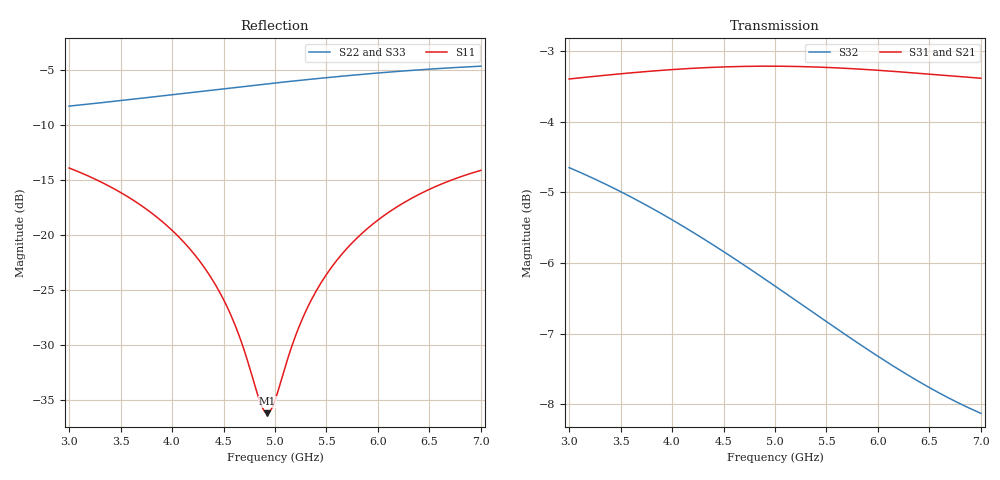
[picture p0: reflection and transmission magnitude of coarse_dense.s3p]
! yapnr rf: divider-osh-m-star-fwd, footprint re-simulated (optimization grid)
! spec sha256 6ebc0f7f06cb0ed0a2ade3a83320aeec5a79c13a408e34964cd1a333cf0d2266
! 3 ports renormalized to 50 ohm, e^(+jwt) convention
# GHz S RI R 50
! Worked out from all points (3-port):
!   161 points, 3 GHz to 7 GHz, reference 50 ohm
!   strongest paths, dB at 3 GHz, 4 GHz, 5 GHz, 6 GHz, 7 GHz:
!     S31: -3.4, -3.3, -3.2, -3.3, -3.4
!     S21: -3.4, -3.3, -3.2, -3.3, -3.4
!     S32: -4.6, -5.4, -6.3, -7.3, -8.1
!   lowest |S11| = -36.2 dB at 4.925 GHz (marker M1), VSWR 1.03, Z = 48.5 + j0.238 ohm
!   |S11| at or under -10 dB: start of sweep to end of sweep
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3  -0.1221 0.1605  0.1061 -0.6683  0.1061 -0.6683
   0.106 -0.6683  0.0917 0.3747  -0.1498 -0.5661
   0.106 -0.6683  -0.1498 -0.5661  0.0917 0.3747
3.7  -0.0571 0.1237  -0.1261 -0.6728  -0.1261 -0.6728
     -0.1262 -0.6727  0.2541 0.333  -0.3444 -0.4331
     -0.1262 -0.6727  -0.3444 -0.4331  0.2541 0.333
4.225  -0.0247 0.0769  -0.2969 -0.6215  -0.2969 -0.6215
       -0.2969 -0.6214  0.3648 0.2586  -0.4346 -0.296
       -0.2969 -0.6214  -0.4346 -0.296  0.3648 0.2586
4.55  -0.015 0.0429  -0.3943 -0.5667  -0.3943 -0.5667
      -0.3943 -0.5666  0.4227 0.1952  -0.4645 -0.2055
      -0.3943 -0.5666  -0.4645 -0.2055  0.4227 0.1952
4.925  -0.0152 0.00245  -0.4935 -0.4837  -0.4935 -0.4837
       -0.4935 -0.4836  0.4751 0.1081  -0.476 -0.1029
       -0.4935 -0.4836  -0.476 -0.1029  0.4751 0.1081
5  -0.0168 -0.00547  -0.5113 -0.4649  -0.5113 -0.4649
   -0.5113 -0.4648  0.4834 0.0892  -0.4756 -0.0831
   -0.5113 -0.4648  -0.4756 -0.0831  0.4834 0.0892
5.3  -0.0278 -0.0355  -0.5745 -0.3829  -0.5745 -0.3829
     -0.5745 -0.3829  0.5085 0.00965  -0.4662 -0.00743
     -0.5745 -0.3829  -0.4662 -0.00743  0.5085 0.00965
5.675  -0.0515 -0.0669  -0.6341 -0.2688  -0.6341 -0.2688
       -0.634 -0.2688  0.5204 -0.0955  -0.4398 0.0772
       -0.634 -0.2688  -0.4398 0.0772  0.5204 -0.0955
6.25  -0.1033 -0.0946  -0.6797 -0.0796  -0.6797 -0.0796
      -0.6796 -0.0796  0.4947 -0.257  -0.3775 0.1825
      -0.6796 -0.0796  -0.3775 0.1825  0.4947 -0.257
7  -0.1778 -0.0843  -0.6567 0.167  -0.6567 0.167
   -0.6566 0.167  0.3876 -0.4397  -0.2769 0.2779
   -0.6566 0.167  -0.2769 0.2779  0.3876 -0.4397
